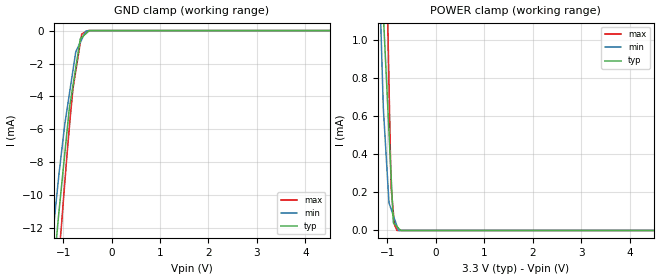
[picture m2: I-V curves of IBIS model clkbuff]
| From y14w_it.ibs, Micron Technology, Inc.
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|   clkbuff MODEL
[Model]   clkbuff
Model_type   Input
Vinl = 800.000mV
Vinh = 2.000V
|   typ   min   max
C_comp   2.450pF   2.200pF   2.700pF
[Voltage Range]   3.300V   3.000V   3.600V
| Junction Temperature (Ambient temp is 25C typ, 85C min, -40C max)
[Temperature Range]   40.0   100.0   -40.0
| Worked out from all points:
|   GND clamp passes 1 mA (typ) near -0.67 V on its own axis
|   POWER clamp passes 1 mA (typ) near -1.06 V on its own axis
[GND Clamp]
|   Voltage   I(typ)   I(min)   I(max)
-3.3V     -821.8mA   -866mA     -753.7mA
-1.23V    -15.6mA    -12.81mA   -19.16mA
-1.19V    -14.3mA    -11.66mA   -17.6mA
-1.085V   -10.93mA   -8.647mA   -13.65mA
-970mV    -7.546mA   -5.75mA    -9.339mA
-875mV    -4.774mA   -3.892mA   -5.953mA
-795mV    -3.273mA   -2.342mA   -3.456mA
-740mV    -2.241mA   -1.276mA   -2.447mA
-645mV    -485.8uA   -702.2uA   -702.7uA
-615mV    -406.6uA   -522.5uA   -197.8uA
-530mV    -182.4uA   -19.46uA   -72.52uA
6.6V      0A         0A         0A
[POWER Clamp]
|   Voltage   I(typ)   I(min)   I(max)
-3.3V     43.46mA    36.85mA    51.59mA
-1.185V   2.244mA    1.487mA    3.567mA
-1.1V     1.232mA    776.2uA    2.476mA
-1.08V    1.112mA    625uA      2.22mA
-970mV    531.7uA    157.3uA    807.6uA
-925mV    294.2uA    113.4uA    231.3uA
-880mV    56.61uA    80.29uA    102.5uA
-875mV    39.76uA    76.6uA     88.23uA
-855mV    34.42uA    61.86uA    31uA
-800mV    19.73uA    21.34uA    0A
-740mV    3.715uA    0A         0A
6.6V      0A         0A         0A
